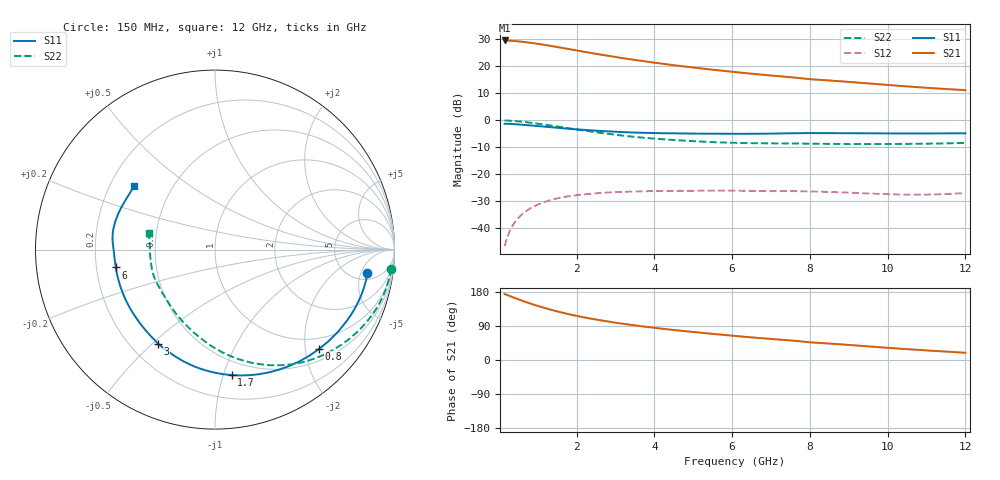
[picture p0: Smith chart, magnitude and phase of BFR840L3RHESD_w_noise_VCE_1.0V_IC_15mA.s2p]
! Infineon Technologies  Discrete & RF Semiconductors
! BFR840L3RHESD
! VCE =  1.0 V,  IC =  15 mA
! Common Emitter S-Parameters:  Jun 2012
# GHz  S  MA  R  50
!  f  S11  S21  S12  S22
! GHz  MAG  ANG  MAG  ANG  MAG  ANG  MAG  ANG
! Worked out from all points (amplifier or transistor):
!   91 points, 150 MHz to 12 GHz, reference 50 ohm
!   highest |S21| = 29.5 dB at 150 MHz (marker M1)
!   |S21| within 3 dB of that: start of sweep to 1.73 GHz
!   unconditionally stable (mu >= 1): 7.754 GHz to end of sweep
!   at 1.3 GHz: K = 0.16, MSG = 28.6 dB, |S12| = -29.7 dB
!   at 4.3 GHz: K = 0.52, MSG = 23.4 dB, |S12| = -26.1 dB
!   at 12 GHz: K = 1.89, MAG = 13.6 dB, |S12| = -26.9 dB
!   lowest NFmin = 0.91 dB at 450 MHz
!   S11 on the Smith chart (normalised r, x): 150 MHz: 6.54, -6.57; 800 MHz: 0.74, -2.29; 1.7 GHz: 0.38, -1.07; 3 GHz: 0.31, -0.52; 6 GHz: 0.28, -0.08; 12 GHz: 0.30, +0.32
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0.15  0.8593 -8.8  29.78 174.2  0.0047 94.1  0.9862 -6.2
0.3  0.8536 -17.3  29.47 168.1  0.0096 80.4  0.977 -13.1
0.5  0.8354 -28.2  28.66 160.3  0.0156 73.0  0.9525 -21.5
0.7  0.8133 -38.7  27.62 152.8  0.0208 67.0  0.9194 -29.4
0.8  0.802 -43.7  27.04 149.4  0.0232 64.2  0.9012 -33.1
1  0.7796 -53.3  25.81 142.8  0.0275 59.1  0.8633 -40.4
1.2  0.7575 -62.2  24.51 136.7  0.0312 54.7  0.8246 -47.2
1.4  0.736 -70.7  23.2 131.1  0.0345 50.8  0.7858 -53.6
1.7  0.7054 -82.4  21.26 123.3  0.0383 45.7  0.7283 -62.3
1.9  0.6868 -89.7  20.05 118.6  0.0403 42.4  0.6916 -67.7
2.2  0.6622 -99.6  18.36 112.3  0.0426 37.6  0.6416 -75.2
2.6  0.6343 -110.7  16.4 105.1  0.0451 32.8  0.5855 -84.0
3  0.614 -121.0  14.77 98.5  0.0471 30.7  0.5403 -91.7
3.6  0.588 -133.8  12.69 90.0  0.0483 25.0  0.4836 -102.7
4.2  0.5758 -144.5  11.08 82.6  0.0493 22.3  0.4459 -112.3
5.1  0.5658 -158.4  9.234 72.9  0.0497 19.3  0.4063 -125.5
6  0.5616 -169.8  7.864 64.2  0.0499 16.6  0.383 -137.5
6.1  0.5614 -171.0  7.732 63.3  0.0498 16.4  0.3814 -138.8
8  0.5778 168.3  5.725 46.6  0.0483 13.9  0.3676 -163.2
8.5  0.5773 164.3  5.427 43.4  0.0472 13.5  0.365 -167.5
10.5  0.5692 149.3  4.212 28.6  0.042 18.6  0.365 175.3
12  0.5734 141.7  3.593 19.1  0.045 27.8  0.3801 166.3
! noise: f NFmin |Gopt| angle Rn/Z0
0.45  0.91  0.14  10  0.14
0.9  0.94  0.14  16  0.14
1.9  0.97  0.16  37  0.14
3.5  0.96  0.17  60  0.13
4  0.97  0.19  68  0.13
5.5  0.99  0.22  83  0.13
7  1.04  0.22  105  0.12
8  1.1  0.23  116  0.12
10  1.19  0.22  135  0.11
12  1.3  0.23  170  0.11
